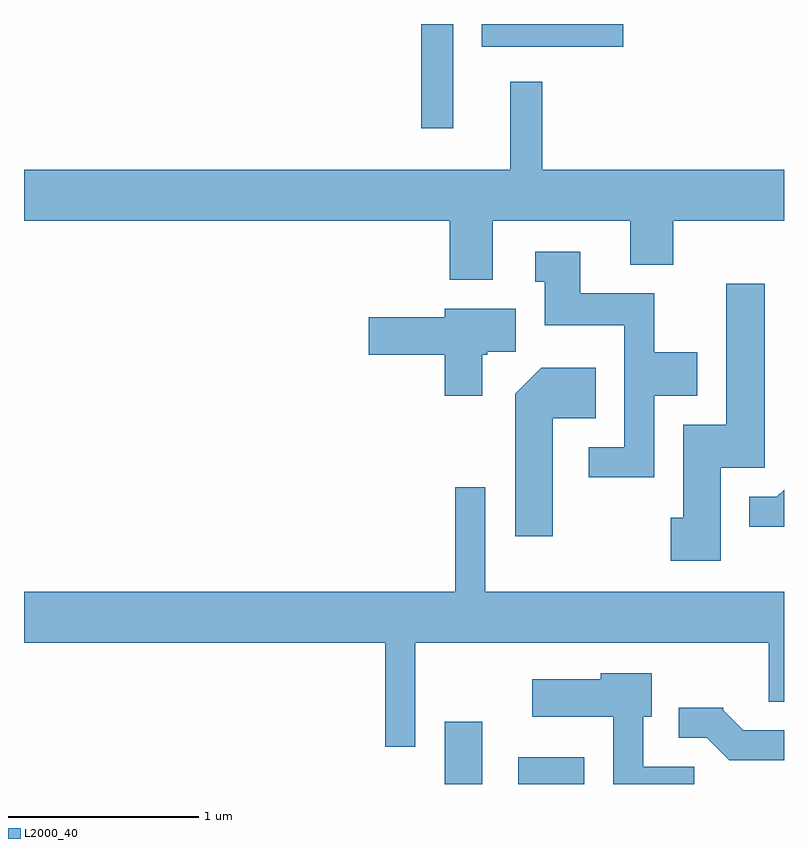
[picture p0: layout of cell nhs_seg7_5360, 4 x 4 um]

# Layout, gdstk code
import gdstk
lib = gdstk.Library(unit=1e-6, precision=1e-09)
def R(c, l, rs):  # rectangles x0, y0, x1, y1
    for r in rs: c.add(gdstk.rectangle(r[:2], r[2:], *l))
def P(c, l, *ps):  # polygons
    for p in ps: c.add(gdstk.Polygon(p, *l))
L2000_40 = (2000, 40)

nhs_seg7_5360 = lib.new_cell('nhs_seg7_5360')
R(nhs_seg7_5360, L2000_40, [(351.826,1700.252,352.024,1700.579), (352.213,1700.252,352.559,1700.394), (351.701,1703.703,351.869,1704.252), (352.021,1704.131,352.764,1704.252)])
P(nhs_seg7_5360, L2000_40, [(352.079,1703.216),(352.801,1703.216),(352.801,1702.986),(353.029,1702.986),(353.029,1703.216),(353.611,1703.216),(353.611,1703.484),(352.339,1703.484),(352.339,1703.948),(352.171,1703.948),(352.171,1703.484),(349.611,1703.484),(349.611,1703.216),(351.851,1703.216),(351.851,1702.906),(352.079,1702.906)],
  [(352.929,1702.296),(353.154,1702.296),(353.154,1702.524),(352.929,1702.524),(352.929,1702.834),(352.539,1702.834),(352.539,1703.054),(352.303,1703.054),(352.303,1702.896),(352.351,1702.896),(352.351,1702.666),(352.771,1702.666),(352.771,1702.024),(352.583,1702.024),(352.583,1701.866),(352.929,1701.866)],
  [(353.279,1701.916),(353.509,1701.916),(353.509,1702.884),(353.306,1702.884),(353.306,1702.144),(353.081,1702.144),(353.081,1701.654),(353.016,1701.654),(353.016,1701.426),(353.279,1701.426)],
  [(352.024,1702.511),(352.05,1702.511),(352.05,1702.526),(352.199,1702.526),(352.199,1702.754),(351.826,1702.754),(351.826,1702.709),(351.426,1702.709),(351.426,1702.511),(351.826,1702.511),(351.826,1702.296),(352.024,1702.296)],
  [(352.394,1702.176),(352.619,1702.176),(352.619,1702.444),(352.334,1702.444),(352.196,1702.307),(352.196,1701.556),(352.394,1701.556)],
  [(351.669,1700.996),(353.531,1700.996),(353.531,1700.686),(353.611,1700.686),(353.611,1701.264),(352.039,1701.264),(352.039,1701.813),(351.881,1701.813),(351.881,1701.264),(349.611,1701.264),(349.611,1700.996),(351.511,1700.996),(351.511,1700.448),(351.669,1700.448)],
  [(353.611,1701.801),(353.574,1701.764),(353.428,1701.764),(353.428,1701.606),(353.611,1701.606)],
  [(353.139,1700.344),(352.869,1700.344),(352.869,1700.606),(352.914,1700.606),(352.914,1700.834),(352.646,1700.834),(352.646,1700.804),(352.286,1700.804),(352.286,1700.606),(352.711,1700.606),(352.711,1700.252),(353.139,1700.252)],
  [(353.611,1700.534),(353.397,1700.534),(353.29,1700.641),(353.29,1700.654),(353.058,1700.654),(353.058,1700.496),(353.204,1700.496),(353.324,1700.376),(353.611,1700.376)])

lib.write_gds('nhs_seg7_5360.gds')
